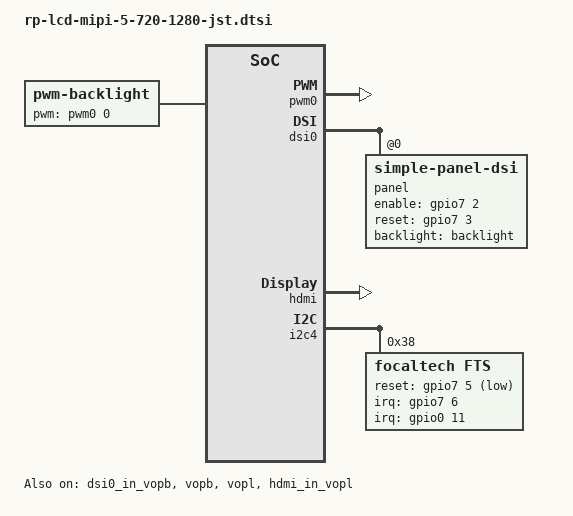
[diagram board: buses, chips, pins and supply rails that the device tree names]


/ {

	display-subsystem {
		status = "okay";

		ports = <&vopb_out>, <&vopl_out>;
		logo-memory-region = <&drm_logo>;

		route {
			route_edp: route-edp {
				status = "disabled";
				logo,uboot = "logo.bmp";
				logo,kernel = "logo.bmp";
				logo,mode = "center";
				charge_logo,mode = "center";
				connect = <&vopb_out_edp>;
			};

			route_dsi0: route-dsi0 {
				status = "disabled";
				logo,uboot = "logo.bmp";
				logo,kernel = "logo.bmp";
				logo,mode = "center";
				charge_logo,mode = "center";
				connect = <&vopb_out_dsi0>;
			};

			route_lvds: route-lvds {
				status = "disabled";
				logo,uboot = "logo.bmp";
				logo,kernel = "logo.bmp";
				logo,mode = "center";
				charge_logo,mode = "center";
				connect = <&vopb_out_lvds>;
			};

			route_hdmi: route-hdmi {
				status = "disabled";
				logo,uboot = "logo.bmp";
				logo,kernel = "logo.bmp";
				logo,mode = "center";
				charge_logo,mode = "center";
				connect = <&vopl_out_hdmi>;
			};
		};
	};
	
	backlight: backlight {
		status = "okay";
		compatible = "pwm-backlight";
		pwms = <&pwm0 0 25000 0>;
		brightness-levels = <
			  0   1   2   3   4   5   6   7
			  8   9  10  11  12  13  14  15
			 16  17  18  19  20  21  22  23
			 24  25  26  27  28  29  30  31
			 32  33  34  35  36  37  38  39
			 40  41  42  43  44  45  46  47
			 48  49  50  51  52  53  54  55
			 56  57  58  59  60  61  62  63
			 64  65  66  67  68  69  70  71
			 72  73  74  75  76  77  78  79
			 80  81  82  83  84  85  86  87
			 88  89  90  91  92  93  94  95
			 96  97  98  99 100 101 102 103
			104 105 106 107 108 109 110 111
			112 113 114 115 116 117 118 119
			120 121 122 123 124 125 126 127
			128 129 130 131 132 133 134 135
			136 137 138 139 140 141 142 143
			144 145 146 147 148 149 150 151
			152 153 154 155 156 157 158 159
			160 161 162 163 164 165 166 167
			168 169 170 171 172 173 174 175
			176 177 178 179 180 181 182 183
			184 185 186 187 188 189 190 191
			192 193 194 195 196 197 198 199
			200 201 202 203 204 205 206 207
			208 209 210 211 212 213 214 215
			216 217 218 219 220 221 222 223
			224 225 226 227 228 229 230 231
			232 233 234 235 236 237 238 239
			240 241 242 243 244 245 246 247
			248 249 250 251 252 253 254 255>;
		default-brightness-level = <255>;
	};
        //bill
        rpdzkj_config {
                compatible = "rp_config";
                user_version = "rpdzkj";
                system_rotate = "0";
                back_camera_rotate = "0";
                front_camera_rotate = "0";
                lcd_density = "160";
                language = "zh-CN";   //zh-CN //en-US
                time_zone = "Asia/Shanghai"; //Asia/Shanghai = +8   //Europe/London  = +1	//Africa/Casablanca	= +0;
                not_navigation_bar = "false";
                not_status_bar = "false";
                default_launcher = "true";
                has_root = "true";
                usb_not_permission = "true";  
                usb_camera_only_front = "false";
                gps_use = "false";
                gps_serial_port = "/dev/ttyS4";
                status = "okay";
        };
	
};
&pwm0 {
        status = "okay";
};
&dsi0 {
        status = "okay";
        rockchip,lane-rate = <480>;

        panel: panel {
                compatible = "simple-panel-dsi";
                reg = <0>;
                backlight = <&backlight>;
		cmd_later_reset = <0>;
                enable-gpios = <&gpio7 2 GPIO_ACTIVE_HIGH>;
                reset-gpios = <&gpio7 3 GPIO_ACTIVE_HIGH>;
		//power-supply = <&vcc_lcd>;
                dsi,flags = <(MIPI_DSI_MODE_VIDEO | MIPI_DSI_MODE_VIDEO_BURST |
                                MIPI_DSI_MODE_LPM | MIPI_DSI_MODE_EOT_PACKET)>;
                dsi,format = <MIPI_DSI_FMT_RGB888>;
                dsi,lanes = <4>;
                reset-delay-ms = <20>;
                init-delay-ms = <20>;
                enable-delay-ms = <120>;
                prepare-delay-ms = <120>;
                status = "okay";
		
               panel-init-sequence = [
			39 00 04 B9 F1 12 81
			39 00 1C BA 33 81 06 fd 0e 0e 00 00 00 00 00 00 00 00 44 25 00 B1 0a 00 00 02 4F 11 00 00 37
			39 00 03 B8 A4 22
			39 00 12 B3 02 00 06 06 0D 10 18 12 00 00 00 03 FF 00 00 00 00
			39 00 0A C0 73 73 50 50 00 00 08 70 00
			39 00 03 BF 02 11
			39 00 02 BC 46
			39 00 02 CC 0B
			39 00 02 B4 80
			39 00 03 B2 C8 12
			39 00 02 B0 01
			39 00 0B E3 03 03 03 03 03 03 03 03 00 14
			39 00 0B B1 22 26 e3 1E 1E 33 77 01 9B 0C
			39 00 03 B5 07 07
			39 00 03 B6 4E 4E
			39 00 40 E9 04 00 09 05 0F 76 7b 12 31 23 48 0D 76 77 47 0A 00 00 30 00 00 00 00 00 30 00 00 00 02 46 02 88 88 88 88 88 88 98 88 13 57 13 88 88 88 88 88 88 98 88 00 00 00 00 00 00 00 00 00 00 00 00 00
			39 00 31 EA 00 00 00 00 75 31 31 88 88 88 88 88 88 89 88 64 20 20 88 88 88 88 88 88 89 88 00 00 00 FF 00 0b 00 00 00 00 00 00 00 00 00 00 00 00 00 00 00 00
			39 00 23 E0 00 02 03 2E 3F 3F 2E 2B 04 05 0B 0E 10 0F 10 0F 18 00 02 03 2E 3F 3F 2E 2B 04 05 0B 0E 10 0F 10 0F 18
			05 FA 01 11
			05 32 01 29
			05 00 01 FF
                ];
		panel-exit-sequence = [
			05 00 01 28
			05 78 01 10
		];

                disp_timings: display-timings {
                        native-mode = <&timing0>;

                        timing0: timing0 {
                                clock-frequency = <72000000>;
                                hactive = <720>;
                                vactive = <1280>;
                                hback-porch = <40>;
                                hfront-porch = <40>;
                                vback-porch = <21>;
                                vfront-porch = <17>;
                                hsync-len = <40>;
                                vsync-len = <4>;
                                hsync-active = <0>;
                                vsync-active = <0>;
                                de-active = <0>;
                                pixelclk-active = <0>;
                        };
                };
        };
};

&route_dsi0 {
        status = "okay";
};
&edp_in_vopl {
        status = "disabled";
};
&dsi0_in_vopl {
        status = "disabled";
};
&dsi1_in_vopl {
        status = "disabled";
};
&lvds_in_vopl {
        status = "disabled";
};

&edp_in_vopb {
        status = "disabled";
};
&dsi0_in_vopb {
        status = "okay";
};
&dsi1_in_vopb {
        status = "disabled";
};
&lvds_in_vopb {
        status = "disabled";
};

&vopb {
	status = "okay";
};

&vopb_mmu {
	status = "okay";
};

&vopl {
	status = "okay";
};

&vopl_mmu {
	status = "okay";
};

&hdmi {
	#address-cells = <1>;
	#size-cells = <0>;
	#sound-dai-cells = <0>;
	status = "okay";
};

&hdmi_in_vopl {
        status = "okay";
};
&hdmi_in_vopb {
        status = "disabled";
};

//TP
&i2c4 {
        focaltech@38{ 
	status = "okay";
	compatible = "focaltech,fts";	
	reg = <0x38>;  					
	interrupt-parent = <&gpio0>;				
	interrupts = <11 IRQ_TYPE_LEVEL_LOW>;
	focaltech,reset-gpio = <&gpio7 5 GPIO_ACTIVE_LOW>; 
	focaltech,irq-gpio = <&gpio7 6 IRQ_TYPE_LEVEL_LOW>; 

	focaltech,max-touch-number = <10>;			
	focaltech,display-coords =  <0 0 720 1280>;      //分辨率

	
	};

};

